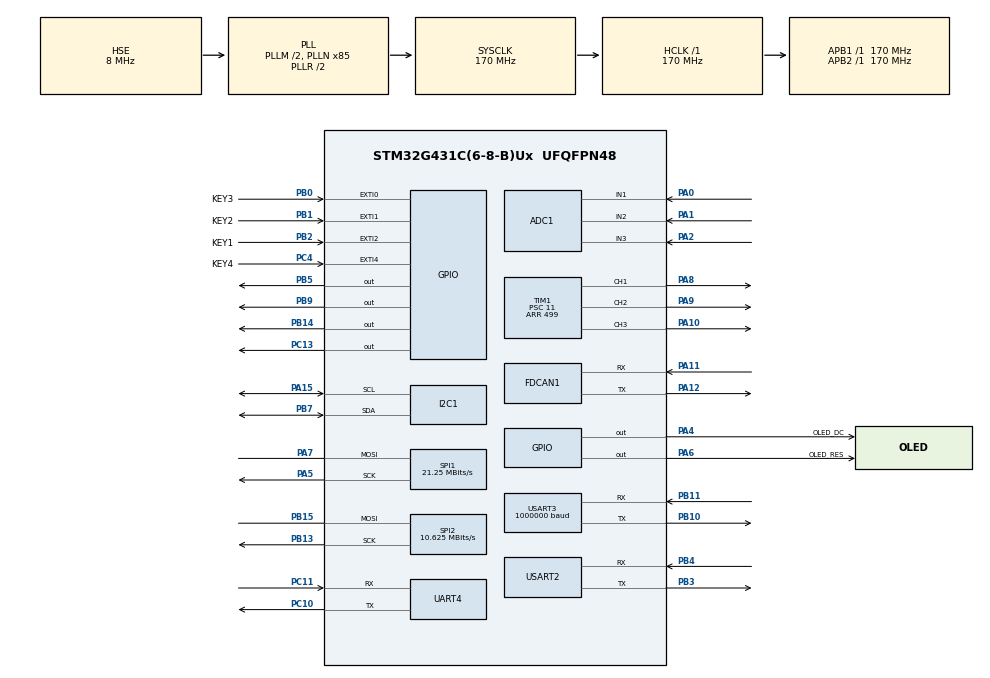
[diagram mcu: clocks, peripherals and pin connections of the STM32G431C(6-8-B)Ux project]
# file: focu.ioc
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ADC1.Channel-0\#ChannelRegularConversion=ADC_CHANNEL_1
ADC1.Channel-1\#ChannelRegularConversion=ADC_CHANNEL_2
ADC1.Channel-2\#ChannelRegularConversion=ADC_CHANNEL_3
ADC1.ContinuousConvMode=ENABLE
ADC1.NbrOfConversion=3
ADC1.NbrOfConversionFlag=1
ADC1.OffsetNumber-0\#ChannelRegularConversion=ADC_OFFSET_NONE
ADC1.OffsetNumber-1\#ChannelRegularConversion=ADC_OFFSET_NONE
ADC1.OffsetNumber-2\#ChannelRegularConversion=ADC_OFFSET_NONE
ADC1.Rank-0\#ChannelRegularConversion=1
ADC1.Rank-1\#ChannelRegularConversion=2
ADC1.Rank-2\#ChannelRegularConversion=3
ADC1.SamplingTime-0\#ChannelRegularConversion=ADC_SAMPLETIME_24CYCLES_5
ADC1.SamplingTime-1\#ChannelRegularConversion=ADC_SAMPLETIME_24CYCLES_5
ADC1.SamplingTime-2\#ChannelRegularConversion=ADC_SAMPLETIME_24CYCLES_5
ADC1.master=1
Dma.ADC1.1.Direction=DMA_PERIPH_TO_MEMORY
Dma.ADC1.1.EventEnable=DISABLE
Dma.ADC1.1.Instance=DMA1_Channel2
Dma.ADC1.1.MemDataAlignment=DMA_MDATAALIGN_HALFWORD
Dma.ADC1.1.MemInc=DMA_MINC_ENABLE
Dma.ADC1.1.Mode=DMA_CIRCULAR
Dma.ADC1.1.PeriphDataAlignment=DMA_PDATAALIGN_HALFWORD
Dma.ADC1.1.PeriphInc=DMA_PINC_DISABLE
Dma.ADC1.1.Polarity=HAL_DMAMUX_REQ_GEN_RISING
Dma.ADC1.1.Priority=DMA_PRIORITY_LOW
Dma.ADC1.1.RequestNumber=1
Dma.ADC1.1.SignalID=NONE
Dma.ADC1.1.SyncEnable=DISABLE
Dma.ADC1.1.SyncPolarity=HAL_DMAMUX_SYNC_NO_EVENT
Dma.ADC1.1.SyncRequestNumber=1
Dma.ADC1.1.SyncSignalID=NONE
Dma.Request0=SPI1_TX
Dma.Request1=ADC1
Dma.SPI1_TX.0.Direction=DMA_MEMORY_TO_PERIPH
Dma.SPI1_TX.0.EventEnable=DISABLE
Dma.SPI1_TX.0.Instance=DMA1_Channel1
Dma.SPI1_TX.0.MemDataAlignment=DMA_MDATAALIGN_BYTE
Dma.SPI1_TX.0.MemInc=DMA_MINC_ENABLE
Dma.SPI1_TX.0.Mode=DMA_NORMAL
Dma.SPI1_TX.0.PeriphDataAlignment=DMA_PDATAALIGN_BYTE
Dma.SPI1_TX.0.PeriphInc=DMA_PINC_DISABLE
Dma.SPI1_TX.0.Polarity=HAL_DMAMUX_REQ_GEN_RISING
Dma.SPI1_TX.0.Priority=DMA_PRIORITY_LOW
Dma.SPI1_TX.0.RequestNumber=1
Dma.SPI1_TX.0.SignalID=NONE
Dma.SPI1_TX.0.SyncEnable=DISABLE
Dma.SPI1_TX.0.SyncPolarity=HAL_DMAMUX_SYNC_NO_EVENT
Dma.SPI1_TX.0.SyncRequestNumber=1
Dma.SPI1_TX.0.SyncSignalID=NONE
FDCAN1.CalculateBaudRateNominal=2125000
FDCAN1.CalculateTimeBitNominal=470
FDCAN1.CalculateTimeQuantumNominal=94.11764705882354
I2C1.Timing=0x40B285C2
Mcu.Family=STM32G4
Mcu.Name=STM32G431C(6-8-B)Ux
Mcu.Package=UFQFPN48
NVIC.DMA1_Channel1_IRQn=true\:0\:0\:false\:false\:true\:false\:true\:true
NVIC.DMA1_Channel2_IRQn=true\:0\:0\:false\:false\:true\:false\:true\:true
NVIC.EXTI0_IRQn=true\:0\:0\:false\:false\:true\:true\:true\:true
NVIC.EXTI1_IRQn=true\:0\:0\:false\:false\:true\:true\:true\:true
NVIC.EXTI2_IRQn=true\:0\:0\:false\:false\:true\:true\:true\:true
NVIC.EXTI4_IRQn=true\:0\:0\:false\:false\:true\:true\:true\:true
NVIC.PriorityGroup=NVIC_PRIORITYGROUP_4
NVIC.TIM2_IRQn=true\:0\:0\:false\:false\:true\:true\:true\:true
NVIC.TIM3_IRQn=true\:0\:0\:false\:false\:true\:true\:true\:true
NVIC.USART2_IRQn=true\:0\:0\:false\:false\:true\:true\:true\:true
NVIC.USART3_IRQn=true\:0\:0\:false\:false\:true\:true\:true\:true
PA0.Mode=IN1-Single-Ended
PA0.Signal=ADC1_IN1
PA1.Mode=IN2-Single-Ended
PA1.Signal=ADC1_IN2
PA10.Signal=S_TIM1_CH3
PA11.Mode=FDCAN_Activate
PA11.Signal=FDCAN1_RX
PA12.Mode=FDCAN_Activate
PA12.Signal=FDCAN1_TX
PA13.Mode=Serial_Wire
PA13.Signal=SYS_JTMS-SWDIO
PA14.Mode=Serial_Wire
PA14.Signal=SYS_JTCK-SWCLK
PA15.Mode=I2C
PA15.Signal=I2C1_SCL
PA2.Mode=IN3-Single-Ended
PA2.Signal=ADC1_IN3
PA4.GPIO_Label=OLED_DC
PA4.Signal=GPIO_Output
PA5.Mode=Simplex_Bidirectional_Master
PA5.Signal=SPI1_SCK
PA6.GPIO_Label=OLED_RES
PA6.Signal=GPIO_Output
PA7.Mode=Simplex_Bidirectional_Master
PA7.Signal=SPI1_MOSI
PA8.Signal=S_TIM1_CH1
PA9.Signal=S_TIM1_CH2
PB0.GPIO_Label=KEY3
PB0.Signal=GPXTI0
PB1.GPIO_Label=KEY2
PB1.Signal=GPXTI1
PB10.Mode=Asynchronous
PB10.Signal=USART3_TX
PB11.Mode=Asynchronous
PB11.Signal=USART3_RX
PB13.Mode=Simplex_Bidirectional_Master
PB13.Signal=SPI2_SCK
PB14.Signal=GPIO_Output
PB15.Mode=Simplex_Bidirectional_Master
PB15.Signal=SPI2_MOSI
PB2.GPIO_Label=KEY1
PB2.Signal=GPXTI2
PB3.Mode=Asynchronous
PB3.Signal=USART2_TX
PB4.Mode=Asynchronous
PB4.Signal=USART2_RX
PB5.Signal=GPIO_Output
PB7.Mode=I2C
PB7.Signal=I2C1_SDA
PB9.GPIO_ModeDefaultOutputPP=GPIO_MODE_OUTPUT_PP
PB9.Signal=GPIO_Output
PC10.Mode=Asynchronous
PC10.Signal=UART4_TX
PC11.Mode=Asynchronous
PC11.Signal=UART4_RX
PC13.Signal=GPIO_Output
PC14-OSC32_IN.Mode=LSE-External-Oscillator
PC14-OSC32_IN.Signal=RCC_OSC32_IN
PC15-OSC32_OUT.Mode=LSE-External-Oscillator
PC15-OSC32_OUT.Signal=RCC_OSC32_OUT
PC4.GPIO_Label=KEY4
PC4.Signal=GPXTI4
PF0-OSC_IN.Mode=HSE-External-Oscillator
PF0-OSC_IN.Signal=RCC_OSC_IN
PF1-OSC_OUT.Mode=HSE-External-Oscillator
PF1-OSC_OUT.Signal=RCC_OSC_OUT
ProjectManager.HeapSize=0x200
ProjectManager.StackSize=0x400
ProjectManager.TargetToolchain=MDK-ARM V5
RCC.ADC12Freq_Value=170000000
RCC.AHBFreq_Value=170000000
RCC.APB1Freq_Value=170000000
RCC.APB1TimFreq_Value=170000000
RCC.APB2Freq_Value=170000000
RCC.APB2TimFreq_Value=170000000
RCC.CortexFreq_Value=170000000
RCC.EXTERNAL_CLOCK_VALUE=12288000
RCC.HCLKFreq_Value=170000000
RCC.HSE_VALUE=8000000
RCC.HSI48_VALUE=48000000
RCC.HSI_VALUE=16000000
RCC.PLLM=RCC_PLLM_DIV2
RCC.PLLN=85
RCC.PLLSourceVirtual=RCC_PLLSOURCE_HSE
RCC.SYSCLKFreq_VALUE=170000000
RCC.SYSCLKSource=RCC_SYSCLKSOURCE_PLLCLK
RCC.USBFreq_Value=170000000
RCC.VCOOutputFreq_Value=340000000
SH.S_TIM1_CH1.0=TIM1_CH1,PWM Generation1 CH1
SH.S_TIM1_CH2.0=TIM1_CH2,PWM Generation2 CH2
SH.S_TIM1_CH3.0=TIM1_CH3,PWM Generation3 CH3
SPI1.BaudRatePrescaler=SPI_BAUDRATEPRESCALER_8
SPI1.CLKPhase=SPI_PHASE_1EDGE
SPI1.CLKPolarity=SPI_POLARITY_HIGH
SPI1.CalculateBaudRate=21.25 MBits/s
SPI1.DataSize=SPI_DATASIZE_8BIT
SPI1.Direction=SPI_DIRECTION_1LINE
SPI1.Mode=SPI_MODE_MASTER
SPI1.VirtualType=VM_MASTER
SPI2.BaudRatePrescaler=SPI_BAUDRATEPRESCALER_16
SPI2.CLKPolarity=SPI_POLARITY_HIGH
SPI2.CalculateBaudRate=10.625 MBits/s
SPI2.DataSize=SPI_DATASIZE_8BIT
SPI2.Direction=SPI_DIRECTION_1LINE
SPI2.Mode=SPI_MODE_MASTER
SPI2.VirtualType=VM_MASTER
TIM1.AutoReloadPreload=TIM_AUTORELOAD_PRELOAD_ENABLE
TIM1.Channel-PWM\ Generation1\ CH1=TIM_CHANNEL_1
TIM1.Channel-PWM\ Generation2\ CH2=TIM_CHANNEL_2
TIM1.Channel-PWM\ Generation3\ CH3=TIM_CHANNEL_3
TIM1.CounterMode=TIM_COUNTERMODE_CENTERALIGNED3
TIM1.PeriodNoDither=499
TIM1.Prescaler=11
TIM2.PeriodNoDither=33333
TIM2.Prescaler=169
TIM3.AutoReloadPreload=TIM_AUTORELOAD_PRELOAD_ENABLE
TIM3.PeriodNoDither=999
TIM3.Prescaler=169
USART2.VirtualMode-Asynchronous=VM_ASYNC
USART3.BaudRate=1000000
USART3.VirtualMode-Asynchronous=VM_ASYNC
VP_SYS_VS_DBSignals.Mode=DisableDeadBatterySignals
VP_TIM1_VS_ClockSourceINT.Mode=Internal
VP_TIM2_VS_ClockSourceINT.Mode=Internal
VP_TIM3_VS_ClockSourceINT.Mode=Internal
board=custom

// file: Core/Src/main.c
/* USER CODE BEGIN Header */
/**
 ******************************************************************************
 * @file           : main.c
 * @brief          : Main program body
 ******************************************************************************
 * @attention
 *
 * Copyright (c) 2024 STMicroelectronics.
 * All rights reserved.
 *
 * This software is licensed under terms that can be found in the LICENSE file
 * in the root directory of this software component.
 * If no LICENSE file comes with this software, it is provided AS-IS.
 *
 ******************************************************************************
 */
/* USER CODE END Header */
#include "main.h"
#include "adc.h"
#include "dma.h"
#include "fdcan.h"
#include "i2c.h"
#include "spi.h"
#include "tim.h"
#include "usart.h"
#include "gpio.h"

/* USER CODE BEGIN Includes */
#include <stdio.h>
#include "OLED_Drv.h"
#include "Encoder.h"
#include "Driver.h"
#include "CmdOrder.h"

/* USER CODE END Includes */

/* USER CODE BEGIN PV */
uint16_t Adcx[2] = {0};

/* USER CODE END PV */

void SystemClock_Config(void);

/* USER CODE BEGIN 0 */

void HAL_ADC_ConvCpltCallback(ADC_HandleTypeDef *hadc)
{
	float fil = 0.5f;
	// Ŵ    Ŵ 50            Ϊ0.005       Ե      V/0.005/50    V*4
	float t0 = (((float)Adcx[0]) / 4096.0f * 3.3f - 1.65f) * 4;
	float t1 = (((float)Adcx[1]) / 4096.0f * 3.3f - 1.65f) * 4;

	//             ʹ   ˵ ͨ ˲   ʵ    Ч       ã  ˲       񶯵      ݴ   һ   ͺ
	Cur_val[0] = t0 * (1.0f - fil) + Cur_val[0] * fil;
	Cur_val[1] = t1 * (1.0f - fil) + Cur_val[1] * fil;
	Cur_val[2] = -Cur_val[1] - Cur_val[0];
	// printf("%.2f,%.2f,%.2f\n",Cur_val[0],Cur_val[1],Cur_val[2]);
}

void HAL_TIM_PeriodElapsedCallback(TIM_HandleTypeDef *htim)
{
	if (htim == &htim2)
	{
	}
	if (htim == &htim3)
	{
		FOC_Cycle();
	}
}

void HAL_GPIO_EXTI_Callback(uint16_t GPIO_Pin)
{
	if (GPIO_Pin == KEY1_Pin)
	{
	}
	if (GPIO_Pin == KEY2_Pin)
	{
	}
	if (GPIO_Pin == KEY3_Pin)
	{
	}
	if (GPIO_Pin == KEY4_Pin)
	{
	}
}
/* USER CODE END 0 */

int main(void)
{

	/* MCU Configuration--------------------------------------------------------*/

	/* Reset of all peripherals, Initializes the Flash interface and the Systick. */
	HAL_Init();

	/* Configure the system clock */
	SystemClock_Config();

	/* Initialize all configured peripherals */
	MX_GPIO_Init();
	MX_DMA_Init();
	MX_ADC1_Init();
	MX_FDCAN1_Init();
	MX_I2C1_Init();
	MX_TIM1_Init();
	MX_USART2_UART_Init();
	MX_USART3_UART_Init();
	MX_UART4_Init();
	MX_SPI1_Init();
	MX_TIM2_Init();
	MX_TIM3_Init();
	MX_SPI2_Init();
	/* USER CODE BEGIN 2 */

	AngInit();
	//   ʼ    Ƕ
	CmdOrder_Init(&huart3);
	//   ʼ  ָ
	HAL_TIM_Base_Start_IT(&htim2);
	//      ʱ  ԭ      ˢ  oled  Ļ      Ϊ    дUI     Բ û  ʹ
	HAL_TIM_Base_Start_IT(&htim3);
	//    FOC  ʱ
	HAL_GPIO_WritePin(GPIOB, GPIO_PIN_5, GPIO_PIN_RESET);
	// ʹ  485ͨ
	HAL_ADCEx_Calibration_Start(&hadc1, ADC_SINGLE_ENDED);
	// У׼ADC

	// u8g2_t u8g2;
	// OLED_Init(&hspi1, &u8g2);
	//   ʼ  u8g2ͼ ο⣬    ͼ ο      ֲ

	/* USER CODE END 2 */

	/* Infinite loop */
	while (1)
	{

	}
}

void SystemClock_Config(void)
{
	RCC_OscInitTypeDef RCC_OscInitStruct = {0};
	RCC_ClkInitTypeDef RCC_ClkInitStruct = {0};

	/** Configure the main internal regulator output voltage
	 */
	HAL_PWREx_ControlVoltageScaling(PWR_REGULATOR_VOLTAGE_SCALE1_BOOST);

	/** Initializes the RCC Oscillators according to the specified parameters
	 * in the RCC_OscInitTypeDef structure.
	 */
	RCC_OscInitStruct.OscillatorType = RCC_OSCILLATORTYPE_HSE;
	RCC_OscInitStruct.HSEState = RCC_HSE_ON;
	RCC_OscInitStruct.PLL.PLLState = RCC_PLL_ON;
	RCC_OscInitStruct.PLL.PLLSource = RCC_PLLSOURCE_HSE;
	RCC_OscInitStruct.PLL.PLLM = RCC_PLLM_DIV2;
	RCC_OscInitStruct.PLL.PLLN = 85;
	RCC_OscInitStruct.PLL.PLLP = RCC_PLLP_DIV2;
	RCC_OscInitStruct.PLL.PLLQ = RCC_PLLQ_DIV2;
	RCC_OscInitStruct.PLL.PLLR = RCC_PLLR_DIV2;
	if (HAL_RCC_OscConfig(&RCC_OscInitStruct) != HAL_OK)
	{
		Error_Handler();
	}

	/** Initializes the CPU, AHB and APB buses clocks
	 */
	RCC_ClkInitStruct.ClockType = RCC_CLOCKTYPE_HCLK | RCC_CLOCKTYPE_SYSCLK | RCC_CLOCKTYPE_PCLK1 | RCC_CLOCKTYPE_PCLK2;
	RCC_ClkInitStruct.SYSCLKSource = RCC_SYSCLKSOURCE_PLLCLK;
	RCC_ClkInitStruct.AHBCLKDivider = RCC_SYSCLK_DIV1;
	RCC_ClkInitStruct.APB1CLKDivider = RCC_HCLK_DIV1;
	RCC_ClkInitStruct.APB2CLKDivider = RCC_HCLK_DIV1;

	if (HAL_RCC_ClockConfig(&RCC_ClkInitStruct, FLASH_LATENCY_4) != HAL_OK)
	{
		Error_Handler();
	}
}

void Error_Handler(void)
{
	__disable_irq();
	while (1)
	{
	}
}
